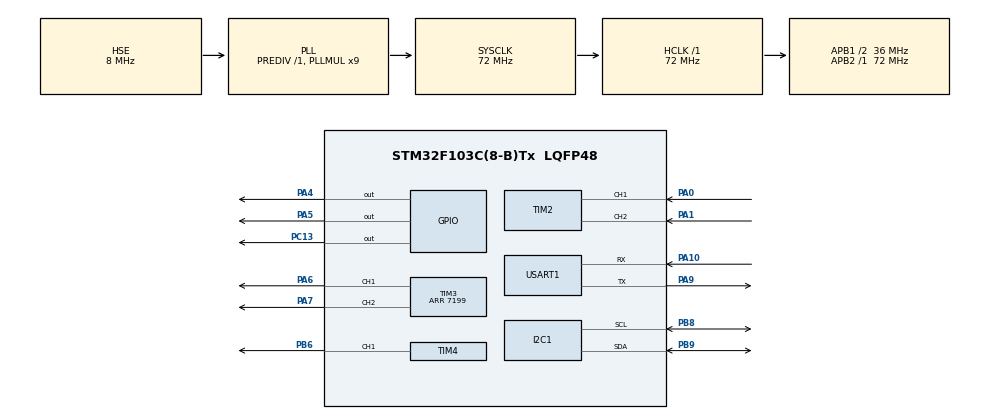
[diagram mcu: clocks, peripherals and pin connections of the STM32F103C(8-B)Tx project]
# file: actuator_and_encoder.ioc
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Mcu.Family=STM32F1
Mcu.Name=STM32F103C(8-B)Tx
Mcu.Package=LQFP48
NVIC.PriorityGroup=NVIC_PRIORITYGROUP_4
NVIC.TIM1_UP_IRQn=true\:0\:0\:false\:false\:true\:true\:true\:true
NVIC.USART1_IRQn=true\:0\:0\:false\:false\:true\:true\:true\:true
PA0-WKUP.Signal=S_TIM2_CH1_ETR
PA1.Signal=S_TIM2_CH2
PA10.Mode=Asynchronous
PA10.Signal=USART1_RX
PA13.Mode=Serial_Wire
PA13.Signal=SYS_JTMS-SWDIO
PA14.Mode=Serial_Wire
PA14.Signal=SYS_JTCK-SWCLK
PA4.Signal=GPIO_Output
PA5.Signal=GPIO_Output
PA6.Signal=S_TIM3_CH1
PA7.Signal=S_TIM3_CH2
PA9.Mode=Asynchronous
PA9.Signal=USART1_TX
PB6.Signal=S_TIM4_CH1
PB8.Mode=I2C
PB8.Signal=I2C1_SCL
PB9.Mode=I2C
PB9.Signal=I2C1_SDA
PC13-TAMPER-RTC.Signal=GPIO_Output
PD0-OSC_IN.Mode=HSE-External-Oscillator
PD0-OSC_IN.Signal=RCC_OSC_IN
PD1-OSC_OUT.Mode=HSE-External-Oscillator
PD1-OSC_OUT.Signal=RCC_OSC_OUT
ProjectManager.HeapSize=0x200
ProjectManager.StackSize=0x400
ProjectManager.TargetToolchain=STM32CubeIDE
RCC.AHBFreq_Value=72000000
RCC.APB1CLKDivider=RCC_HCLK_DIV2
RCC.APB1Freq_Value=36000000
RCC.APB1TimFreq_Value=72000000
RCC.APB2Freq_Value=72000000
RCC.APB2TimFreq_Value=72000000
RCC.HCLKFreq_Value=72000000
RCC.PLLMUL=RCC_PLL_MUL9
RCC.PLLSourceVirtual=RCC_PLLSOURCE_HSE
RCC.SYSCLKFreq_VALUE=72000000
RCC.SYSCLKSource=RCC_SYSCLKSOURCE_PLLCLK
RCC.USBFreq_Value=72000000
SH.S_TIM2_CH1_ETR.0=TIM2_CH1,Encoder_Interface
SH.S_TIM2_CH2.0=TIM2_CH2,Encoder_Interface
SH.S_TIM3_CH1.0=TIM3_CH1,PWM Generation1 CH1
SH.S_TIM3_CH2.0=TIM3_CH2,PWM Generation2 CH2
SH.S_TIM4_CH1.0=TIM4_CH1,PWM Generation1 CH1
TIM1.AutoReloadPreload=TIM_AUTORELOAD_PRELOAD_ENABLE
TIM1.Period=49
TIM1.Prescaler=7199
TIM2.EncoderMode=TIM_ENCODERMODE_TI12
TIM2.IC1Filter=5
TIM2.IC2Filter=5
TIM3.Channel-PWM\ Generation1\ CH1=TIM_CHANNEL_1
TIM3.Channel-PWM\ Generation2\ CH2=TIM_CHANNEL_2
TIM3.Period=7199
TIM4.Channel-PWM\ Generation1\ CH1=TIM_CHANNEL_1
TIM4.Channel-PWM\ Generation4\ No\ Output=TIM_CHANNEL_4
TIM4.Period=19999
TIM4.Prescaler=71
USART1.VirtualMode=VM_ASYNC
VP_TIM1_VS_ClockSourceINT.Mode=Internal
VP_TIM3_VS_ClockSourceINT.Mode=Internal
VP_TIM4_VS_ClockSourceINT.Mode=Internal
board=custom

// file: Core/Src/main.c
/* USER CODE BEGIN Header */
/**
  ******************************************************************************
  * @file           : main.c
  * @brief          : STM32 for ROS2 Ackermann RC Car
  ******************************************************************************
  */
/* USER CODE END Header */
#include "main.h"
#include "i2c.h"
#include "tim.h"
#include "usart.h"
#include "gpio.h"
#include <math.h>

/* USER CODE BEGIN Includes */
#include "robot_config.h"
#include "motor_driver.h"
#include "servo_driver.h"
#include "encoder_driver.h"
#include "ros_comms.h"
#include "mpu6050.h"
/* USER CODE END Includes */

/* USER CODE BEGIN PV */
MPU6050_t mpu6050;

// MARK AS VOLATILE: Shared between Main Loop (Writer) and Interrupt (Reader)
volatile int8_t current_speed_cmd = 0;
uint8_t current_angle_cmd = SERVO_CENTER_ANGLE;
uint32_t last_pub_time = 0;

// --- Encoder & Velocity Globals ---
volatile int32_t encoder_curr = 0;
volatile int32_t encoder_prev = 0;
float v_actual = 0.0f;

// --- PID Controller State ---
typedef struct {
    float error_integral;
    float prev_error;
} PID_State_t;

PID_State_t motor_pid = {0.0f, 0.0f};

// DELETE THIS: extern int8_t motor_speed_cmd; <--- Caused the variable mismatch
/* USER CODE END PV */

void SystemClock_Config(void);

/* USER CODE BEGIN 0 */

/**
 * @brief Converts raw encoder ticks to linear velocity (m/s)
 * Handles 16-bit timer wrapping automatically via casting.
 */
float Calculate_Velocity(void) {
    // 1. Read current counter from TIM2
    encoder_curr = __HAL_TIM_GET_COUNTER(&htim2);

    // 2. Calculate delta (cast to int16_t handles 0 -> 65535 wrap-around)
    int16_t delta_ticks = (int16_t)(encoder_curr - encoder_prev);

    // 3. Update previous count
    encoder_prev = encoder_curr;

    // 4. Convert to m/s
    // v = (delta / dt) * (circumference / counts_per_rev)
    float raw_vel = (delta_ticks / DT) * ((3.14159f * WHEEL_DIAMETER) / COUNTS_PER_REV);

    // 5. Low-Pass Filter to remove quantization noise
    static float v_smooth = 0.0f;
    v_smooth = (VEL_FILTER_ALPHA * raw_vel) + ((1.0f - VEL_FILTER_ALPHA) * v_smooth);

    return v_smooth;
}

/**
 * @brief Computes PID output
 * @param target_vel Target velocity in m/s
 * @param current_vel Actual velocity in m/s
 * @return Motor PWM command (-100 to 100)
 */
int8_t PID_Compute(float target_vel, float current_vel) {
    float error = target_vel - current_vel;

    // Proportional Term
    float P = PID_KP * error;

    // Integral Term (with Anti-Windup)
    motor_pid.error_integral += error * DT;

    // Clamp Integral to prevent runaway
    // (Simple clamping; can be improved based on output saturation)
    float I = PID_KI * motor_pid.error_integral;
    if (I > MAX_PWM_OUTPUT) motor_pid.error_integral = MAX_PWM_OUTPUT / PID_KI;
    if (I < MIN_PWM_OUTPUT) motor_pid.error_integral = MIN_PWM_OUTPUT / PID_KI;
    I = PID_KI * motor_pid.error_integral;

    // Derivative Term
    float D = PID_KD * (error - motor_pid.prev_error) / DT;
    motor_pid.prev_error = error;

    // Sum
    float output = P + I + D;

    // Final Clamping to Motor limits
    if (output > MAX_PWM_OUTPUT) output = MAX_PWM_OUTPUT;
    if (output < MIN_PWM_OUTPUT) output = MIN_PWM_OUTPUT;

    return (int8_t)output;
}

void Robot_Update_Loop(void) {
    // 1. Check for incoming ROS2 commands (Non-blocking)
    // This updates the global 'current_speed_cmd'
	ROS_CheckForCommand((int8_t*)&current_speed_cmd, &current_angle_cmd);

    // 2. Apply Actuation
    // REMOVED: Motor_SetSpeed(current_speed_cmd); <--- This was causing the fight!

    // Servo is still open-loop, so this stays here:
    Servo_SetAngle(current_angle_cmd);

    // 3. Telemetry Publishing (10Hz)
    // Keep sensor reading HERE, not in the Interrupt.
    if (HAL_GetTick() - last_pub_time >= (1000 / SENSOR_PUB_RATE_HZ)) {
        MPU6050_Read_All(&hi2c1, &mpu6050);
        MPU6050_Calculate_Angles(&mpu6050);
        ROS_SendTelemetry(Encoder_GetCount(), &mpu6050);
        last_pub_time = HAL_GetTick();
    }
}

/* Callbacks */
// Redirect Interrupts to specific modules
void HAL_TIM_PeriodElapsedCallback(TIM_HandleTypeDef *htim) {
    if (htim->Instance == TIM1) { // 200Hz Control Loop

    	Encoder_Update();

        // 1. Calculate Actual Velocity
        v_actual = Calculate_Velocity();

        // 2. Determine Setpoint
        // USE 'current_speed_cmd' HERE
        float v_target = ((float)current_speed_cmd / 100.0f) * MAX_LINEAR_VELOCITY;

        // 3. Compute PID Output
        int8_t pid_output = PID_Compute(v_target, v_actual);

        // 4. Handle Stop Condition (Reset PID when stopped to prevent windup)
        if (current_speed_cmd == 0) {
            pid_output = 0;
            motor_pid.error_integral = 0;
            motor_pid.prev_error = 0;
        }

        // 5. Apply to Motor (The Interrupt now OWNS the motor)
        Motor_SetSpeed(pid_output);

        // REMOVED: readIMU() and publishSensorData()
        // We do this in the main loop now to avoid blocking the interrupt.
    }
}

void HAL_UART_RxCpltCallback(UART_HandleTypeDef *huart) {
    if (huart->Instance == USART1) {
        ROS_UART_ISR_Handler();
    }
}
/* USER CODE END 0 */

int main(void)
{

  /* MCU Configuration--------------------------------------------------------*/

  /* Reset of all peripherals, Initializes the Flash interface and the Systick. */
  HAL_Init();

  /* Configure the system clock */
  SystemClock_Config();

  /* Initialize all configured peripherals */
  MX_GPIO_Init();
  MX_TIM3_Init();
  MX_TIM4_Init();
  MX_TIM2_Init();
  MX_I2C1_Init();
  MX_TIM1_Init();
  MX_USART1_UART_Init();
  /* USER CODE BEGIN 2 */
  // --- Module Initialization ---
    Motor_Init();
    Servo_Init();
    Encoder_Init();

    MPU6050_Init(&hi2c1);
    HAL_Delay(500); // Wait for sensor to settle

    ROS_Comms_Init();

    HAL_TIM_Base_Start_IT(&htim1); // Start Control Loop Timer

  /* USER CODE END 2 */

  /* Infinite loop */
  /* USER CODE BEGIN WHILE */
  while (1)
  {
	  // The Interrupts handle raw data (RX buffer, Encoder ticks).
	  // The Main Loop handles Logic (Parsing, PID, I2C Reads). tasks
	  Robot_Update_Loop();
    /* USER CODE END WHILE */

  }
}

void SystemClock_Config(void)
{
  RCC_OscInitTypeDef RCC_OscInitStruct = {0};
  RCC_ClkInitTypeDef RCC_ClkInitStruct = {0};

  /** Initializes the RCC Oscillators according to the specified parameters
  * in the RCC_OscInitTypeDef structure.
  */
  RCC_OscInitStruct.OscillatorType = RCC_OSCILLATORTYPE_HSE;
  RCC_OscInitStruct.HSEState = RCC_HSE_ON;
  RCC_OscInitStruct.HSEPredivValue = RCC_HSE_PREDIV_DIV1;
  RCC_OscInitStruct.HSIState = RCC_HSI_ON;
  RCC_OscInitStruct.PLL.PLLState = RCC_PLL_ON;
  RCC_OscInitStruct.PLL.PLLSource = RCC_PLLSOURCE_HSE;
  RCC_OscInitStruct.PLL.PLLMUL = RCC_PLL_MUL9;
  if (HAL_RCC_OscConfig(&RCC_OscInitStruct) != HAL_OK)
  {
    Error_Handler();
  }

  /** Initializes the CPU, AHB and APB buses clocks
  */
  RCC_ClkInitStruct.ClockType = RCC_CLOCKTYPE_HCLK|RCC_CLOCKTYPE_SYSCLK
                              |RCC_CLOCKTYPE_PCLK1|RCC_CLOCKTYPE_PCLK2;
  RCC_ClkInitStruct.SYSCLKSource = RCC_SYSCLKSOURCE_PLLCLK;
  RCC_ClkInitStruct.AHBCLKDivider = RCC_SYSCLK_DIV1;
  RCC_ClkInitStruct.APB1CLKDivider = RCC_HCLK_DIV2;
  RCC_ClkInitStruct.APB2CLKDivider = RCC_HCLK_DIV1;

  if (HAL_RCC_ClockConfig(&RCC_ClkInitStruct, FLASH_LATENCY_2) != HAL_OK)
  {
    Error_Handler();
  }
}

void Error_Handler(void)
{
  __disable_irq();
  while (1)
  {
  }
}
